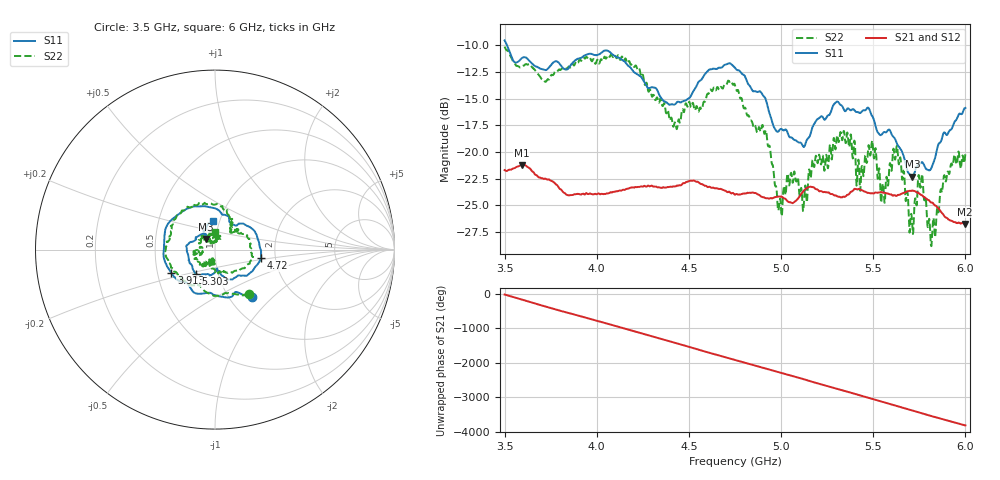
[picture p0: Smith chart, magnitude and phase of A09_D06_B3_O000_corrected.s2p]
! Created with skrf 1.9.0 (http://scikit-rf.org).
# Hz S RI R 50.0
!freq ReS11 ImS11 ReS21 ImS21 ReS12 ImS12 ReS22 ImS22
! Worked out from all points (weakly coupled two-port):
!   1601 points, 3.5 GHz to 6 GHz, reference 50 ohm
!   highest |S21| = -21.20 dB at 3.594 GHz (marker M1); lowest = -26.7 dB at 5.995 GHz (marker M2)
!   lowest |S11| = -22.3 dB at 5.713 GHz (marker M3), VSWR 1.17, Z = 45 + j5.3 ohm
!   |S11| at or under -10 dB: 3.513 GHz to end of sweep
!   |S22| runs from -28.8 to -10.1 dB; largest |S21 - S12| = 0.00094
!   S11 on the Smith chart (normalised r, x): 3.5 GHz: 1.27, -0.75; 3.913 GHz: 0.59, -0.17; 4.72 GHz: 1.68, -0.17; 5.303 GHz: 0.78, -0.22; 6 GHz: 0.93, +0.31
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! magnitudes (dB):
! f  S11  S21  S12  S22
! 3.5 GHz  -9.5  -21.7  -21.7  -10.1
! 3.594 GHz  -11.2  -21.2  -21.2  -12.0
! 3.913 GHz  -11.2  -24.0  -23.9  -11.4
! 3.917 GHz  -11.2  -24.0  -23.9  -11.4
! 4.334 GHz  -14.4  -23.3  -23.2  -15.2
! 4.427 GHz  -15.5  -23.2  -23.2  -17.3
! 4.72 GHz  -11.7  -23.7  -23.7  -13.4
! 4.75 GHz  -12.1  -24.0  -23.9  -13.7
! 4.911 GHz  -14.9  -24.3  -24.2  -18.3
! 4.994 GHz  -17.9  -24.2  -24.1  -24.4
! 5.167 GHz  -17.8  -23.3  -23.2  -21.2
! 5.303 GHz  -15.3  -24.1  -24.1  -18.5
! 5.502 GHz  -16.9  -23.9  -23.8  -20.3
! 5.552 GHz  -18.2  -23.8  -23.7  -23.0
! 5.584 GHz  -17.9  -23.9  -23.9  -22.3
! 5.638 GHz  -19.5  -24.0  -23.9  -21.1
! 5.713 GHz  -22.3  -23.6  -23.5  -27.0
! 5.756 GHz  -21.0  -24.0  -23.9  -23.3
! 5.825 GHz  -21.1  -24.8  -24.8  -26.3
! 5.892 GHz  -18.2  -26.1  -26.0  -22.7
! 5.995 GHz  -15.9  -26.7  -26.6  -20.9
! 6 GHz  -15.9  -26.7  -26.7  -20.1
